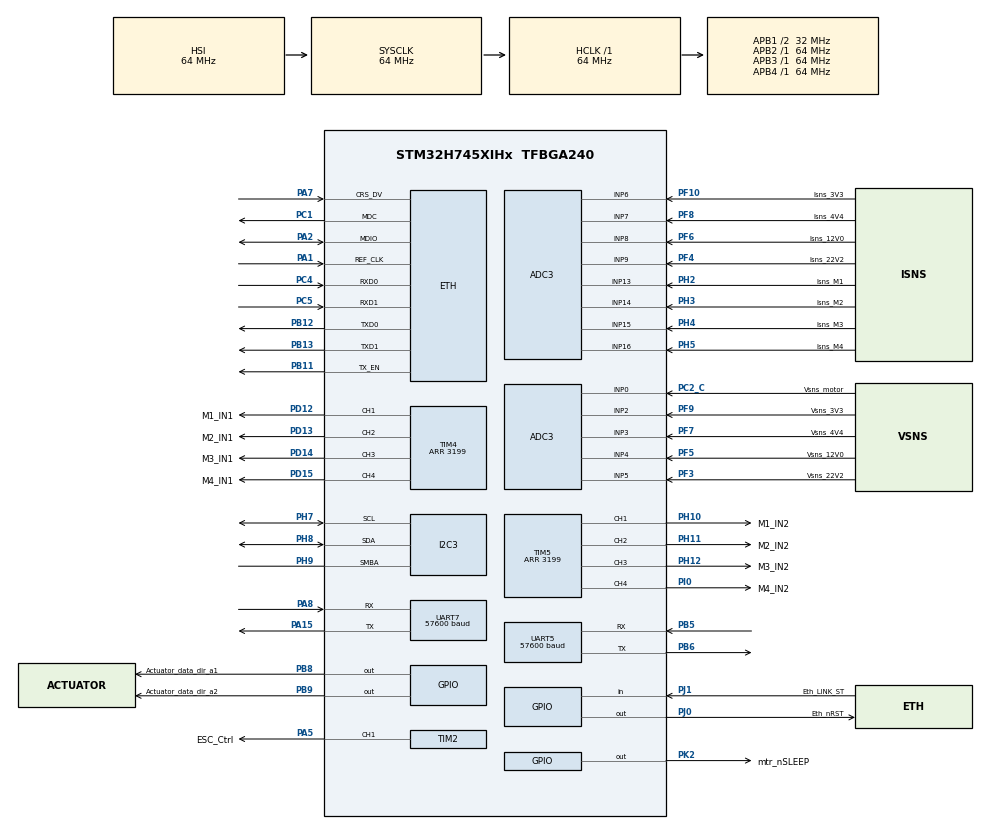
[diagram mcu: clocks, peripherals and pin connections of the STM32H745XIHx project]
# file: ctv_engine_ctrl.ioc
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ADC3.Channel-2\#ChannelRegularConversion=ADC_CHANNEL_0
ADC3.EOCSelection=ADC_EOC_SINGLE_CONV
ADC3.NbrOfConversionFlag=1
ADC3.OffsetNumber-2\#ChannelRegularConversion=ADC_OFFSET_NONE
ADC3.OffsetSignedSaturation-2\#ChannelRegularConversion=DISABLE
ADC3.Overrun=ADC_OVR_DATA_OVERWRITTEN
ADC3.Rank-2\#ChannelRegularConversion=1
ADC3.SamplingTime-2\#ChannelRegularConversion=ADC_SAMPLETIME_64CYCLES_5
CORTEX_M4.AccessPermission-Cortex_Memory_Protection_Unit_Region0_Settings=MPU_REGION_PRIV_RO
CORTEX_M4.BaseAddress-Cortex_Memory_Protection_Unit_Region0_Settings=0x08100000
CORTEX_M4.Enable-Cortex_Memory_Protection_Unit_Region0_Settings=MPU_REGION_ENABLE
CORTEX_M4.MPU_Control=MPU_PRIVILEGED_DEFAULT
CORTEX_M4.Size-Cortex_Memory_Protection_Unit_Region0_Settings=MPU_REGION_SIZE_512KB
CORTEX_M4.TypeExtField-Cortex_Memory_Protection_Unit_Region0_Settings=MPU_TEX_LEVEL1
CORTEX_M7.AccessPermission_S-Cortex_Memory_Protection_Unit_Region1_Settings_S=MPU_REGION_FULL_ACCESS
CORTEX_M7.BaseAddress_S-Cortex_Memory_Protection_Unit_Region1_Settings_S=0x30000000
CORTEX_M7.DisableExec_S-Cortex_Memory_Protection_Unit_Region1_Settings_S=MPU_INSTRUCTION_ACCESS_DISABLE
CORTEX_M7.Enable_S-Cortex_Memory_Protection_Unit_Region1_Settings_S=MPU_REGION_ENABLE
CORTEX_M7.IsCacheable_S-Cortex_Memory_Protection_Unit_Region1_Settings_S=MPU_ACCESS_NOT_CACHEABLE
CORTEX_M7.IsShareable_S-Cortex_Memory_Protection_Unit_Region1_Settings_S=MPU_ACCESS_SHAREABLE
CORTEX_M7.Size_S-Cortex_Memory_Protection_Unit_Region1_Settings_S=MPU_REGION_SIZE_128KB
CORTEX_M7.TypeExtField_S-Cortex_Memory_Protection_Unit_Region1_Settings_S=MPU_TEX_LEVEL1
CORTEX_M7.default_mode_Activation=1
CortexM4.IPs=CORTEX_M4\:I,FATFS_M4\:I,FREERTOS_M4\:I,IWDG2\:I,OPENAMP_M4\:I,PDM2PCM_M4\:I,PWR,RCC,RESMGR_UTILITY,SYS_M4\:I,USB_DEVICE_M4\:I,USB_HOST_M4\:I,VREFBUF,WWDG2\:I,GPIO,DMA,BDMA,MDMA,NVIC2\:I
CortexM7.IPs=CORTEX_M7\:I,FATFS_M7\:I,FREERTOS_M7\:I,IWDG1\:I,OPENAMP_M7\:I,PDM2PCM_M7\:I,PWR\:I,RCC\:I,RESMGR_UTILITY\:I,SYS\:I,USB_DEVICE_M7\:I,USB_HOST_M7\:I,VREFBUF\:I,WWDG1\:I,GPIO\:I,DMA\:I,BDMA\:I,MDMA\:I,NVIC1\:I,ETH\:I,DEBUG\:I,CRC\:I,I2C3\:I,UART7\:I,UART5\:I,ADC3\:I,MEMORYMAP\:I,LWIP\:I,TIM4\:I,TIM5\:I,TIM2\:I,RNG\:I
CortexM7.Pins=PB9,PB8,PK2,PJ0,PJ1
ETH.MediaInterface=HAL_ETH_RMII_MODE
I2C3.SMBusPeripheralMode=SMBUS_PERIPHERAL_MODE_SMBUS_HOST
I2C3.Timeout=0x00008186
I2C3.Timing=0x00707CBB
LWIP.BSP.number=1
LWIP.IP_ADDRESS=192.168.001.138
LWIP.LWIP_DHCP=0
LWIP.LWIP_RAM_HEAP_POINTER=0x30010000
LWIP.LWIP_TCP=0
LWIP.NETMASK_ADDRESS=255.255.255.000
LWIP.Version=v2.2.1_Cube
LWIP0.BSP.STBoard=false
LWIP0.BSP.api=BSP_COMPONENT_DRIVER
LWIP0.BSP.component=USER_PHY
LWIP0.BSP.instance=USER_PHY
LWIP0.BSP.name=Driver_PHY
LWIP0.BSP.semaphore=S_USER_PHY
LWIP0.BSP.solution=USER_PHY
Mcu.Family=STM32H7
Mcu.Name=STM32H745XIHx
Mcu.Package=TFBGA240
NVIC1.PriorityGroup=NVIC_PRIORITYGROUP_4
NVIC2.PriorityGroup=NVIC_PRIORITYGROUP_4
PA1.Mode=RMII
PA1.PinAttribute=CortexM7
PA1.Signal=ETH_REF_CLK
PA13\ (JTMS/SWDIO).GPIO_Label=swdio
PA13\ (JTMS/SWDIO).Mode=Trace_Asynchronous_SW
PA13\ (JTMS/SWDIO).PinAttribute=CortexM7
PA13\ (JTMS/SWDIO).Signal=DEBUG_JTMS-SWDIO
PA14\ (JTCK/SWCLK).GPIO_Label=swclk
PA14\ (JTCK/SWCLK).Mode=Trace_Asynchronous_SW
PA14\ (JTCK/SWCLK).PinAttribute=CortexM7
PA14\ (JTCK/SWCLK).Signal=DEBUG_JTCK-SWCLK
PA15\ (JTDI).Mode=Asynchronous
PA15\ (JTDI).PinAttribute=CortexM7
PA15\ (JTDI).Signal=UART7_TX
PA2.Mode=RMII
PA2.PinAttribute=CortexM7
PA2.Signal=ETH_MDIO
PA5.GPIO_Label=ESC_Ctrl
PA5.PinAttribute=CortexM7
PA5.Signal=S_TIM2_CH1_ETR
PA7.Mode=RMII
PA7.PinAttribute=CortexM7
PA7.Signal=ETH_CRS_DV
PA8.Mode=Asynchronous
PA8.PinAttribute=CortexM7
PA8.Signal=UART7_RX
PB11.Mode=RMII
PB11.PinAttribute=CortexM7
PB11.Signal=ETH_TX_EN
PB12.Mode=RMII
PB12.PinAttribute=CortexM7
PB12.Signal=ETH_TXD0
PB13.Mode=RMII
PB13.PinAttribute=CortexM7
PB13.Signal=ETH_TXD1
PB3\ (JTDO/TRACESWO).GPIO_Label=swo
PB3\ (JTDO/TRACESWO).Mode=Trace_Asynchronous_SW
PB3\ (JTDO/TRACESWO).PinAttribute=CortexM7
PB3\ (JTDO/TRACESWO).Signal=DEBUG_JTDO-SWO
PB5.Mode=Asynchronous
PB5.PinAttribute=CortexM7
PB5.Signal=UART5_RX
PB6.Mode=Asynchronous
PB6.PinAttribute=CortexM7
PB6.Signal=UART5_TX
PB8.GPIO_Label=Actuator_data_dir_a1
PB8.PinAttribute=CortexM7
PB8.Signal=GPIO_Output
PB9.GPIO_Label=Actuator_data_dir_a2
PB9.PinAttribute=CortexM7
PB9.Signal=GPIO_Output
PC1.Mode=RMII
PC1.PinAttribute=CortexM7
PC1.Signal=ETH_MDC
PC2_C.GPIO_Label=Vsns_motor
PC2_C.Mode=IN0-Single-Ended
PC2_C.PinAttribute=CortexM7
PC2_C.Signal=ADC3_INP0
PC4.Mode=RMII
PC4.PinAttribute=CortexM7
PC4.Signal=ETH_RXD0
PC5.Mode=RMII
PC5.PinAttribute=CortexM7
PC5.Signal=ETH_RXD1
PD12.GPIO_Label=M1_IN1
PD12.PinAttribute=CortexM7
PD12.Signal=S_TIM4_CH1
PD13.GPIO_Label=M2_IN1
PD13.PinAttribute=CortexM7
PD13.Signal=S_TIM4_CH2
PD14.GPIO_Label=M3_IN1
PD14.PinAttribute=CortexM7
PD14.Signal=S_TIM4_CH3
PD15.GPIO_Label=M4_IN1
PD15.PinAttribute=CortexM7
PD15.Signal=S_TIM4_CH4
PF10.GPIO_Label=Isns_3V3
PF10.Mode=IN6-Single-Ended
PF10.PinAttribute=CortexM7
PF10.Signal=ADC3_INP6
PF3.GPIO_Label=Vsns_22V2
PF3.Mode=IN5-Single-Ended
PF3.PinAttribute=CortexM7
PF3.Signal=ADC3_INP5
PF4.GPIO_Label=Isns_22V2
PF4.Mode=IN9-Single-Ended
PF4.PinAttribute=CortexM7
PF4.Signal=ADC3_INP9
PF5.GPIO_Label=Vsns_12V0
PF5.Mode=IN4-Single-Ended
PF5.PinAttribute=CortexM7
PF5.Signal=ADC3_INP4
PF6.GPIO_Label=Isns_12V0
PF6.Mode=IN8-Single-Ended
PF6.PinAttribute=CortexM7
PF6.Signal=ADC3_INP8
PF7.GPIO_Label=Vsns_4V4
PF7.Mode=IN3-Single-Ended
PF7.PinAttribute=CortexM7
PF7.Signal=ADC3_INP3
PF8.GPIO_Label=Isns_4V4
PF8.Mode=IN7-Single-Ended
PF8.PinAttribute=CortexM7
PF8.Signal=ADC3_INP7
PF9.GPIO_Label=Vsns_3V3
PF9.Mode=IN2-Single-Ended
PF9.PinAttribute=CortexM7
PF9.Signal=ADC3_INP2
PH10.GPIO_Label=M1_IN2
PH10.PinAttribute=CortexM7
PH10.Signal=S_TIM5_CH1
PH11.GPIO_Label=M2_IN2
PH11.PinAttribute=CortexM7
PH11.Signal=S_TIM5_CH2
PH12.GPIO_Label=M3_IN2
PH12.PinAttribute=CortexM7
PH12.Signal=S_TIM5_CH3
PH2.GPIO_Label=Isns_M1
PH2.Mode=IN13-Single-Ended
PH2.PinAttribute=CortexM7
PH2.Signal=ADC3_INP13
PH3.GPIO_Label=Isns_M2
PH3.Mode=IN14-Single-Ended
PH3.PinAttribute=CortexM7
PH3.Signal=ADC3_INP14
PH4.GPIO_Label=Isns_M3
PH4.Mode=IN15-Single-Ended
PH4.PinAttribute=CortexM7
PH4.Signal=ADC3_INP15
PH5.GPIO_Label=Isns_M4
PH5.Mode=IN16-Single-Ended
PH5.PinAttribute=CortexM7
PH5.Signal=ADC3_INP16
PH7.Mode=SMBus-Alert-mode
PH7.PinAttribute=CortexM7
PH7.Signal=I2C3_SCL
PH8.Mode=SMBus-Alert-mode
PH8.PinAttribute=CortexM7
PH8.Signal=I2C3_SDA
PH9.Mode=SMBus-Alert-mode
PH9.PinAttribute=CortexM7
PH9.Signal=I2C3_SMBA
PI0.GPIO_Label=M4_IN2
PI0.PinAttribute=CortexM7
PI0.Signal=S_TIM5_CH4
PJ0.GPIO_Label=Eth_nRST
PJ0.PinAttribute=CortexM7
PJ0.Signal=GPIO_Output
PJ1.GPIO_Label=Eth_LINK_ST
PJ1.PinAttribute=CortexM7
PJ1.Signal=GPIO_Input
PK2.GPIO_Label=mtr_nSLEEP
PK2.PinAttribute=CortexM7
PK2.Signal=GPIO_Output
ProjectManager.HeapSize=M4-0x200,M7-0x200
ProjectManager.StackSize=M4-0x400,M7-0x2000
ProjectManager.TargetToolchain=STM32CubeIDE
RCC.ADCFreq_Value=80000000
RCC.APB1Freq_Value=32000000
RCC.APB2Freq_Value=64000000
RCC.APB3Freq_Value=64000000
RCC.APB4Freq_Value=64000000
RCC.CortexFreq_Value=64000000
RCC.D2PPRE1=RCC_APB1_DIV2
RCC.DIVM2=4
RCC.DIVN2=10
RCC.HCLKFreq_Value=64000000
RCC.PLL2FRACN=0
RCC.SYSCLKFreq_VALUE=64000000
RCC.USBFreq_Value=129000000
SH.S_TIM2_CH1_ETR.0=TIM2_CH1,PWM Generation1 CH1
SH.S_TIM4_CH1.0=TIM4_CH1,PWM Generation1 CH1
SH.S_TIM4_CH2.0=TIM4_CH2,PWM Generation2 CH2
SH.S_TIM4_CH3.0=TIM4_CH3,PWM Generation3 CH3
SH.S_TIM4_CH4.0=TIM4_CH4,PWM Generation4 CH4
SH.S_TIM5_CH1.0=TIM5_CH1,PWM Generation1 CH1
SH.S_TIM5_CH2.0=TIM5_CH2,PWM Generation2 CH2
SH.S_TIM5_CH3.0=TIM5_CH3,PWM Generation3 CH3
SH.S_TIM5_CH4.0=TIM5_CH4,PWM Generation4 CH4
SYS.userName=SYS_M7
TIM2.AutoReloadPreload=TIM_AUTORELOAD_PRELOAD_ENABLE
TIM2.Channel-PWM\ Generation1\ CH1=TIM_CHANNEL_1
TIM2.Period=19999
TIM2.Prescaler=63
TIM2.Pulse-PWM\ Generation1\ CH1=1000
TIM4.AutoReloadPreload=TIM_AUTORELOAD_PRELOAD_ENABLE
TIM4.Channel-PWM\ Generation1\ CH1=TIM_CHANNEL_1
TIM4.Channel-PWM\ Generation2\ CH2=TIM_CHANNEL_2
TIM4.Channel-PWM\ Generation3\ CH3=TIM_CHANNEL_3
TIM4.Channel-PWM\ Generation4\ CH4=TIM_CHANNEL_4
TIM4.Period=3199
TIM5.AutoReloadPreload=TIM_AUTORELOAD_PRELOAD_ENABLE
TIM5.Channel-PWM\ Generation1\ CH1=TIM_CHANNEL_1
TIM5.Channel-PWM\ Generation2\ CH2=TIM_CHANNEL_2
TIM5.Channel-PWM\ Generation3\ CH3=TIM_CHANNEL_3
TIM5.Channel-PWM\ Generation4\ CH4=TIM_CHANNEL_4
TIM5.Period=3199
UART5.BaudRate=57600
UART7.BaudRate=57600
VP_CRC_VS_CRC.Mode=CRC_Activate
VP_IWDG1_VS_IWDG.Mode=IWDG_Activate
VP_LWIP_VS_Enabled.Mode=Enabled
VP_MEMORYMAP_VS_MEMORYMAP.Mode=CurAppReg
VP_RNG_VS_RNG.Mode=RNG_Activate
VP_SYS_M4_VS_Systick.Mode=SysTick
VP_TIM2_VS_ClockSourceINT.Mode=Internal
VP_TIM4_VS_ClockSourceINT.Mode=Internal
VP_TIM5_VS_ClockSourceINT.Mode=Internal
board=custom

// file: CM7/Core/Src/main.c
/* USER CODE BEGIN Header */
/**
  ******************************************************************************
  * @file           : main.c
  * @brief          : Main program body
  ******************************************************************************
  * @attention
  *
  * Copyright (c) 2026 STMicroelectronics.
  * All rights reserved.
  *
  * This software is licensed under terms that can be found in the LICENSE file
  * in the root directory of this software component.
  * If no LICENSE file comes with this software, it is provided AS-IS.
  *
  ******************************************************************************
  */
/* USER CODE END Header */
#include "main.h"
#include "lwip.h"

/* USER CODE BEGIN Includes */
#include "motors.h"
#include "pa12.h"
#include "sensors.h"
#include "ec_app.h"
#include "pa12_bench.h"
/* USER CODE END Includes */

/* USER CODE BEGIN PD */
#define ADC_TEST_CHANNEL_COUNT 13U

/* DUAL_CORE_BOOT_SYNC_SEQUENCE is intentionally disabled for these tests. */
//#define DUAL_CORE_BOOT_SYNC_SEQUENCE

#if defined(DUAL_CORE_BOOT_SYNC_SEQUENCE)
#ifndef HSEM_ID_0
#define HSEM_ID_0 (0U)
#endif
#endif
/* USER CODE END PD */

ADC_HandleTypeDef hadc3;

CRC_HandleTypeDef hcrc;

SMBUS_HandleTypeDef hsmbus3;

IWDG_HandleTypeDef hiwdg1;

RNG_HandleTypeDef hrng;

TIM_HandleTypeDef htim2;
TIM_HandleTypeDef htim4;
TIM_HandleTypeDef htim5;

UART_HandleTypeDef huart5;
UART_HandleTypeDef huart7;

/* USER CODE BEGIN PV */
/* Read-only test results; inspect with the ordinary debugger if needed.
 * Nothing requires changing variable values while the program runs. */
static PA12_Device actuator1;
static PA12_Device actuator2;

volatile uint16_t adc_test_raw[ADC_TEST_CHANNEL_COUNT] = {0};
volatile HAL_StatusTypeDef adc_test_status[ADC_TEST_CHANNEL_COUNT];
volatile uint32_t adc_test_scans = 0U;

volatile PA12_Result pa_ping_result[2] = {PA12_INVALID_ARGUMENT, PA12_INVALID_ARGUMENT};
volatile PA12_Result pa_position_result[2] = {PA12_INVALID_ARGUMENT, PA12_INVALID_ARGUMENT};
volatile uint16_t pa_position[2] = {0U, 0U};
volatile PA12_Result pa_move_result = PA12_INVALID_ARGUMENT;
volatile HAL_StatusTypeDef motor_test_result = HAL_ERROR;
volatile HAL_StatusTypeDef esc_test_result = HAL_ERROR;
/* USER CODE END PV */

void SystemClock_Config(void);
static void MPU_Config(void);
static void MX_GPIO_Init(void);
static void MX_CRC_Init(void);
static void MX_ADC3_Init(void);
static void MX_I2C3_SMBUS_Init(void);
static void MX_IWDG1_Init(void);
static void MX_UART5_Init(void);
static void MX_UART7_Init(void);
static void MX_TIM2_Init(void);
static void MX_TIM4_Init(void);
static void MX_TIM5_Init(void);
static void MX_RNG_Init(void);
/* USER CODE BEGIN PFP */
__attribute__((unused)) static void Test_DelayMs(uint32_t ms); /* only in the #if 0 bring-up tests */
__attribute__((unused)) static void Test_ReadAllADC(void); /* only with EC_BRINGUP_ADC_POLL */
/* USER CODE END PFP */

/* USER CODE BEGIN 0 */
/**
 * @brief Ethernet MSP Initialization
 * @note  STM32H745 Ethernet MAC connected to ADIN1200 via RMII
 */
void HAL_ETH_MspInit(ETH_HandleTypeDef *heth)
{
    GPIO_InitTypeDef GPIO_InitStruct = {0};

    if (heth->Instance == ETH)
    {
        /* 1. Enable Ethernet peripheral clocks */
        __HAL_RCC_ETH1MAC_CLK_ENABLE();
        __HAL_RCC_ETH1TX_CLK_ENABLE();
        __HAL_RCC_ETH1RX_CLK_ENABLE();

        /* 2. Enable GPIO peripheral clocks */
        __HAL_RCC_GPIOA_CLK_ENABLE();
        __HAL_RCC_GPIOB_CLK_ENABLE();
        __HAL_RCC_GPIOC_CLK_ENABLE();

        /* 3. Configure RMII GPIO alternate functions */
        GPIO_InitStruct.Mode = GPIO_MODE_AF_PP;
        GPIO_InitStruct.Pull = GPIO_NOPULL;
        GPIO_InitStruct.Speed = GPIO_SPEED_FREQ_VERY_HIGH;
        GPIO_InitStruct.Alternate = GPIO_AF11_ETH;

        /* GPIOA:
         * PA1 = ETH_REF_CLK
         * PA2 = ETH_MDIO
         * PA7 = ETH_CRS_DV
         */
        GPIO_InitStruct.Pin =
            GPIO_PIN_1 | GPIO_PIN_2 | GPIO_PIN_7;
        HAL_GPIO_Init(GPIOA, &GPIO_InitStruct);

        /* GPIOB:
         * PB11 = ETH_TX_EN
         * PB12 = ETH_TXD0
         * PB13 = ETH_TXD1
         */
        GPIO_InitStruct.Pin =
            GPIO_PIN_11 | GPIO_PIN_12 | GPIO_PIN_13;
        HAL_GPIO_Init(GPIOB, &GPIO_InitStruct);

        /* GPIOC:
         * PC1 = ETH_MDC
         * PC4 = ETH_RXD0
         * PC5 = ETH_RXD1
         */
        GPIO_InitStruct.Pin =
            GPIO_PIN_1 | GPIO_PIN_4 | GPIO_PIN_5;
        HAL_GPIO_Init(GPIOC, &GPIO_InitStruct);
    }
}

/* Polling-based ADC3 read, one channel at a time, no DMA or scan mode. */
static const uint32_t adc_test_channels[ADC_TEST_CHANNEL_COUNT] = {
    ADC_CHANNEL_0, ADC_CHANNEL_2, ADC_CHANNEL_3, ADC_CHANNEL_4,
    ADC_CHANNEL_5, ADC_CHANNEL_6, ADC_CHANNEL_7, ADC_CHANNEL_8,
    ADC_CHANNEL_9, ADC_CHANNEL_13, ADC_CHANNEL_14, ADC_CHANNEL_15,
    ADC_CHANNEL_16
};

static void Test_ReadAllADC(void)
{
    for (uint32_t i = 0U; i < ADC_TEST_CHANNEL_COUNT; ++i)
    {
        uint16_t raw = 0U;
        HAL_StatusTypeDef status = ADC_ReadChannel(adc_test_channels[i], &raw);
        adc_test_status[i] = status;
        if (status == HAL_OK)
        {
            adc_test_raw[i] = raw;
        }
    }
    ++adc_test_scans;
}

/* Keep the independent watchdog fed during the short blocking bench tests. */
static void Test_DelayMs(uint32_t ms)
{
    while (ms > 0U)
    {
        const uint32_t step = (ms > 10U) ? 10U : ms;
        (void)HAL_IWDG_Refresh(&hiwdg1);
        HAL_Delay(step);
        ms -= step;
    }
}
/* USER CODE END 0 */

int main(void)
{

/* USER CODE BEGIN Boot_Mode_Sequence_0 */
#if defined(DUAL_CORE_BOOT_SYNC_SEQUENCE)
  int32_t timeout;
#endif /* DUAL_CORE_BOOT_SYNC_SEQUENCE */
/* USER CODE END Boot_Mode_Sequence_0 */

  /* MPU Configuration--------------------------------------------------------*/
  MPU_Config();

/* USER CODE BEGIN Boot_Mode_Sequence_1 */
#if defined(DUAL_CORE_BOOT_SYNC_SEQUENCE)
  /* Wait until CPU2 boots and enters in stop mode or timeout*/
  timeout = 0xFFFF;
  while((__HAL_RCC_GET_FLAG(RCC_FLAG_D2CKRDY) != RESET) && (timeout-- > 0));
  if ( timeout < 0 )
  {
  Error_Handler();
  }
#endif /* DUAL_CORE_BOOT_SYNC_SEQUENCE */
/* USER CODE END Boot_Mode_Sequence_1 */
  /* MCU Configuration--------------------------------------------------------*/

  /* Reset of all peripherals, Initializes the Flash interface and the Systick. */
  HAL_Init();

  /* Configure the system clock */
  SystemClock_Config();
/* USER CODE BEGIN Boot_Mode_Sequence_2 */
#if defined(DUAL_CORE_BOOT_SYNC_SEQUENCE)
/* When system initialization is finished, Cortex-M7 will release Cortex-M4 by means of
HSEM notification */
/*HW semaphore Clock enable*/
__HAL_RCC_HSEM_CLK_ENABLE();
/*Take HSEM */
HAL_HSEM_FastTake(HSEM_ID_0);
/*Release HSEM in order to notify the CPU2(CM4)*/
HAL_HSEM_Release(HSEM_ID_0,0);
/* wait until CPU2 wakes up from stop mode */
timeout = 0xFFFF;
while((__HAL_RCC_GET_FLAG(RCC_FLAG_D2CKRDY) == RESET) && (timeout-- > 0));
if ( timeout < 0 )
{
Error_Handler();
}
#endif /* DUAL_CORE_BOOT_SYNC_SEQUENCE */
/* USER CODE END Boot_Mode_Sequence_2 */

  /* Initialize all configured peripherals */
  MX_GPIO_Init();
  MX_CRC_Init();
  MX_ADC3_Init();
  MX_I2C3_SMBUS_Init();
  MX_IWDG1_Init();
  MX_UART5_Init();
  MX_UART7_Init();
  MX_TIM2_Init();
  MX_LWIP_Init();
  MX_TIM4_Init();
  MX_TIM5_Init();
  MX_RNG_Init();
  /* USER CODE BEGIN 2 */
    /* ================================================================
    PERIPHERAL BRING-UP: independent source-code blocks.
    Change the #if 0 above a test to #if 1 to run it, then rebuild.
    ADC polling (TEST E) is OFF by default; define EC_BRINGUP_ADC_POLL to run it.
    All physical motion tests are OFF by default.
    ================================================================ */

    (void)HAL_IWDG_Refresh(&hiwdg1);

    /* Initialize motor PWM at 0%, but keep all four DRV8837s asleep. */
    if (Motors_Init() != HAL_OK)
    {
        Error_Handler();
    }
    Motors_Disarm();

    /* The two actuators are on separate UART buses, both with device ID 0. */
    PA12_Init(&actuator1, &huart7,
            Actuator_data_dir_a1_GPIO_Port, Actuator_data_dir_a1_Pin, 0U);
    PA12_Init(&actuator2, &huart5,
            Actuator_data_dir_a2_GPIO_Port, Actuator_data_dir_a2_Pin, 0U);
#ifdef EC_PA12_BENCH
    PA12_Bench_Init(&actuator1, &actuator2); /* bench-only build: see pa12_bench.h */
#endif

    if (Sensors_ADC_Init() != HAL_OK)
    {
        Error_Handler();
    }

    /* IMPORTANT: Do not start ESC PWM automatically. */
    (void)HAL_TIM_PWM_Stop(&htim2, TIM_CHANNEL_1);
    __HAL_TIM_SET_COMPARE(&htim2, TIM_CHANNEL_1, 0U);

    /* ----------------------------------------------------------------
    TEST A: Read BOTH PA-12 actuators (read-only; no movement)
    ---------------------------------------------------------------- */
    #if 0
    (void)HAL_IWDG_Refresh(&hiwdg1);
    pa_ping_result[0] = PA12_Ping(&actuator1);
    if (pa_ping_result[0] == PA12_OK)
    {
        uint16_t read_position = 0U;
        pa_position_result[0] = PA12_GetPosition(&actuator1, &read_position);
        if (pa_position_result[0] == PA12_OK) pa_position[0] = read_position;
    }

    (void)HAL_IWDG_Refresh(&hiwdg1);
    pa_ping_result[1] = PA12_Ping(&actuator2);
    if (pa_ping_result[1] == PA12_OK)
    {
        uint16_t read_position = 0U;
        pa_position_result[1] = PA12_GetPosition(&actuator2, &read_position);
        if (pa_position_result[1] == PA12_OK) pa_position[1] = read_position;
    }
    #endif

    /* ----------------------------------------------------------------
    TEST B: Motor 1 forward, 5% PWM for 100 ms, then disarm.
    Test one channel at a time. Replace (1, 50) with (2, -50), etc.
    Verify supply/current ratings and PWM signals before power testing.
    ---------------------------------------------------------------- */
    #if 0
    motor_test_result = Motors_Arm();
    if (motor_test_result == HAL_OK)
    {
        motor_test_result = Motors_SetDuty(1U, 50);  /* 1..4, -1000..+1000 */
        if (motor_test_result == HAL_OK)
        {
            Test_DelayMs(100U);
        }
        (void)Motors_Coast(1U);
    }
    Motors_Disarm();
    #endif

    /* ----------------------------------------------------------------
    TEST C: PA-12 actuator 1 POSITION MOVE (disabled by default).
    Set confirmed safe limits, target and speed BEFORE enabling.
    The initial all-zero limits intentionally block movement.
    ---------------------------------------------------------------- */
    #if 0
    {
        const uint16_t safe_min = 0U;   /* EDIT: confirmed installed limit */
        const uint16_t safe_max = 0U;   /* EDIT: confirmed installed limit */
        const uint16_t target   = 0U;   /* EDIT: target inside those limits */
        const uint16_t speed    = 0U;   /* EDIT: verified raw speed > 0 */
        uint16_t current = 0U;
        PA12_Device *dev = &actuator1; /* Use &actuator2 for second actuator */

        /* Keep the requested step small on first powered tests. */
        if ((safe_min < safe_max) && (speed > 0U) &&
            (target >= safe_min) && (target <= safe_max))
        {
            (void)HAL_IWDG_Refresh(&hiwdg1);
            pa_move_result = PA12_GetPosition(dev, &current);
            if (pa_move_result == PA12_OK &&
            current >= safe_min && current <= safe_max &&
            ((target > current ? target - current : current - target) <= 32U))
            {
                (void)HAL_IWDG_Refresh(&hiwdg1);
                pa_move_result = PA12_SetPositionAndSpeed(dev, target, speed);
            }
        }
    }
    #endif

    /* ----------------------------------------------------------------
    TEST D: ESC 50 Hz PWM waveform ONLY, disconnected from powered ESC.
    Confirm the ESC protocol before using it for real throttle control.
    At the current 64 MHz timer clock, TIM2 is 1 us/count, 20 ms period.
    ---------------------------------------------------------------- */
    #if 0
    __HAL_TIM_SET_COMPARE(&htim2, TIM_CHANNEL_1, 1500U); /* Scope example, NOT safe throttle */
    esc_test_result = HAL_TIM_PWM_Start(&htim2, TIM_CHANNEL_1);
    if (esc_test_result == HAL_OK)
    {
        Test_DelayMs(200U);  /* At least several 50 Hz periods */
    }
    (void)HAL_TIM_PWM_Stop(&htim2, TIM_CHANNEL_1);
    __HAL_TIM_SET_COMPARE(&htim2, TIM_CHANNEL_1, 0U);
    #endif

    /* Register the UDP application after lwIP and peripheral initialization.
     * Physical output authority stays disabled until the actuator profiles in
     * ec_bench_profile.h are approved, and the FC arms the EC.
     */
    uint32_t boot_id = 0;

    /* Generate a random, nonzero boot ID */
    for (uint32_t attempt = 0; attempt < 4U; attempt++)
    {
        (void)HAL_IWDG_Refresh(&hiwdg1);

        if (HAL_RNG_GenerateRandomNumber(&hrng, &boot_id) != HAL_OK)
        {
            Error_Handler();
        }

        if (boot_id != 0U)
        {
            break;
        }
    }

    /* Never initialize the protocol with an invalid boot ID */
    if (boot_id == 0U)
    {
        Error_Handler();
    }

    if (!EC_App_Init(boot_id))
    {
        Error_Handler();
    }
  /* USER CODE END 2 */

  /* Infinite loop */
  while (1)
  {

    /* USER CODE BEGIN 3 */
        /* The FC-EC link. Nothing in this loop may block for long: the FC
         * resends its demand every 5 ms and the EC safes itself if none
         * arrives within 30 ms. */
        MX_LWIP_Process();
        EC_App_Process((uint64_t)HAL_GetTick() * 1000ULL);
#ifdef EC_PA12_BENCH
        PA12_Bench_Process();
#endif

        /* ----------------------------------------------------------------
        TEST E: Sample ALL 13 ADC channels once every 250 ms.
        OFF by default (define EC_BRINGUP_ADC_POLL to run it). With a broken
        ADC each read can take its full 2 ms timeout, 26 ms for the scan,
        which would eat the 30 ms demand timeout above.
        Raw counts are NOT converted to volts or amperes.
        ---------------------------------------------------------------- */
        #ifdef EC_BRINGUP_ADC_POLL
        static uint32_t last_adc_ms = 0U;
        const uint32_t now_ms = HAL_GetTick();
        if ((uint32_t)(now_ms - last_adc_ms) >= 250U)
        {
            last_adc_ms = now_ms;
            Test_ReadAllADC();
        }
        #endif

        /* The MCU watchdog resets the board in about 0.5 s without this. */
        (void)HAL_IWDG_Refresh(&hiwdg1);
    }  /* Close while(1); CubeMX closes main() after USER CODE END 3. */
  /* USER CODE END 3 */
}

void SystemClock_Config(void)
{
  RCC_OscInitTypeDef RCC_OscInitStruct = {0};
  RCC_ClkInitTypeDef RCC_ClkInitStruct = {0};

  /** Supply configuration update enable
  */
  HAL_PWREx_ConfigSupply(PWR_DIRECT_SMPS_SUPPLY);

  /** Configure the main internal regulator output voltage
  */
  __HAL_PWR_VOLTAGESCALING_CONFIG(PWR_REGULATOR_VOLTAGE_SCALE3);

  while(!__HAL_PWR_GET_FLAG(PWR_FLAG_VOSRDY)) {}

  /** Macro to configure the PLL clock source
  */
  __HAL_RCC_PLL_PLLSOURCE_CONFIG(RCC_PLLSOURCE_HSI);

  /** Initializes the RCC Oscillators according to the specified parameters
  * in the RCC_OscInitTypeDef structure.
  */
  RCC_OscInitStruct.OscillatorType = RCC_OSCILLATORTYPE_HSI48|RCC_OSCILLATORTYPE_HSI
                              |RCC_OSCILLATORTYPE_LSI;
  RCC_OscInitStruct.HSIState = RCC_HSI_DIV1;
  RCC_OscInitStruct.HSICalibrationValue = RCC_HSICALIBRATION_DEFAULT;
  RCC_OscInitStruct.LSIState = RCC_LSI_ON;
  RCC_OscInitStruct.HSI48State = RCC_HSI48_ON;
  RCC_OscInitStruct.PLL.PLLState = RCC_PLL_NONE;
  if (HAL_RCC_OscConfig(&RCC_OscInitStruct) != HAL_OK)
  {
    Error_Handler();
  }

  /** Initializes the CPU, AHB and APB buses clocks
  */
  RCC_ClkInitStruct.ClockType = RCC_CLOCKTYPE_HCLK|RCC_CLOCKTYPE_SYSCLK
                              |RCC_CLOCKTYPE_PCLK1|RCC_CLOCKTYPE_PCLK2
                              |RCC_CLOCKTYPE_D3PCLK1|RCC_CLOCKTYPE_D1PCLK1;
  RCC_ClkInitStruct.SYSCLKSource = RCC_SYSCLKSOURCE_HSI;
  RCC_ClkInitStruct.SYSCLKDivider = RCC_SYSCLK_DIV1;
  RCC_ClkInitStruct.AHBCLKDivider = RCC_HCLK_DIV1;
  RCC_ClkInitStruct.APB3CLKDivider = RCC_APB3_DIV1;
  RCC_ClkInitStruct.APB1CLKDivider = RCC_APB1_DIV2;
  RCC_ClkInitStruct.APB2CLKDivider = RCC_APB2_DIV1;
  RCC_ClkInitStruct.APB4CLKDivider = RCC_APB4_DIV1;

  if (HAL_RCC_ClockConfig(&RCC_ClkInitStruct, FLASH_LATENCY_1) != HAL_OK)
  {
    Error_Handler();
  }
}

static void MX_ADC3_Init(void)
{

  ADC_ChannelConfTypeDef sConfig = {0};

  /** Common config
  */
  hadc3.Instance = ADC3;
  hadc3.Init.ClockPrescaler = ADC_CLOCK_ASYNC_DIV2;
  hadc3.Init.ScanConvMode = ADC_SCAN_DISABLE;
  hadc3.Init.EOCSelection = ADC_EOC_SINGLE_CONV;
  hadc3.Init.LowPowerAutoWait = DISABLE;
  hadc3.Init.ContinuousConvMode = DISABLE;
  hadc3.Init.NbrOfConversion = 1;
  hadc3.Init.DiscontinuousConvMode = DISABLE;
  hadc3.Init.ExternalTrigConv = ADC_SOFTWARE_START;
  hadc3.Init.ExternalTrigConvEdge = ADC_EXTERNALTRIGCONVEDGE_NONE;
  hadc3.Init.ConversionDataManagement = ADC_CONVERSIONDATA_DR;
  hadc3.Init.Overrun = ADC_OVR_DATA_OVERWRITTEN;
  hadc3.Init.LeftBitShift = ADC_LEFTBITSHIFT_NONE;
  hadc3.Init.OversamplingMode = DISABLE;
  hadc3.Init.Oversampling.Ratio = 1;
  if (HAL_ADC_Init(&hadc3) != HAL_OK)
  {
    Error_Handler();
  }
  hadc3.Init.Resolution = ADC_RESOLUTION_16B;
  if (HAL_ADC_Init(&hadc3) != HAL_OK)
  {
    Error_Handler();
  }

  /** Configure Regular Channel
  */
  sConfig.Channel = ADC_CHANNEL_0;
  sConfig.Rank = ADC_REGULAR_RANK_1;
  sConfig.SamplingTime = ADC_SAMPLETIME_64CYCLES_5;
  sConfig.SingleDiff = ADC_SINGLE_ENDED;
  sConfig.OffsetNumber = ADC_OFFSET_NONE;
  sConfig.Offset = 0;
  sConfig.OffsetSignedSaturation = DISABLE;
  if (HAL_ADC_ConfigChannel(&hadc3, &sConfig) != HAL_OK)
  {
    Error_Handler();
  }

}

static void MX_CRC_Init(void)
{

  hcrc.Instance = CRC;
  hcrc.Init.DefaultPolynomialUse = DEFAULT_POLYNOMIAL_ENABLE;
  hcrc.Init.DefaultInitValueUse = DEFAULT_INIT_VALUE_ENABLE;
  hcrc.Init.InputDataInversionMode = CRC_INPUTDATA_INVERSION_NONE;
  hcrc.Init.OutputDataInversionMode = CRC_OUTPUTDATA_INVERSION_DISABLE;
  hcrc.InputDataFormat = CRC_INPUTDATA_FORMAT_BYTES;
  if (HAL_CRC_Init(&hcrc) != HAL_OK)
  {
    Error_Handler();
  }

}

static void MX_I2C3_SMBUS_Init(void)
{

  hsmbus3.Instance = I2C3;
  hsmbus3.Init.Timing = 0x00707CBB;
  hsmbus3.Init.AnalogFilter = SMBUS_ANALOGFILTER_ENABLE;
  hsmbus3.Init.OwnAddress1 = 2;
  hsmbus3.Init.AddressingMode = SMBUS_ADDRESSINGMODE_7BIT;
  hsmbus3.Init.DualAddressMode = SMBUS_DUALADDRESS_DISABLE;
  hsmbus3.Init.OwnAddress2 = 0;
  hsmbus3.Init.OwnAddress2Masks = SMBUS_OA2_NOMASK;
  hsmbus3.Init.GeneralCallMode = SMBUS_GENERALCALL_DISABLE;
  hsmbus3.Init.NoStretchMode = SMBUS_NOSTRETCH_DISABLE;
  hsmbus3.Init.PacketErrorCheckMode = SMBUS_PEC_DISABLE;
  hsmbus3.Init.PeripheralMode = SMBUS_PERIPHERAL_MODE_SMBUS_HOST;
  hsmbus3.Init.SMBusTimeout = 0x00008186;
  if (HAL_SMBUS_Init(&hsmbus3) != HAL_OK)
  {
    Error_Handler();
  }

  /** configuration Alert Mode
  */
  if (HAL_SMBUS_EnableAlert_IT(&hsmbus3) != HAL_OK)
  {
    Error_Handler();
  }

  /** Configure Digital filter
  */
  if (HAL_SMBUS_ConfigDigitalFilter(&hsmbus3, 0) != HAL_OK)
  {
    Error_Handler();
  }

}

static void MX_IWDG1_Init(void)
{

  hiwdg1.Instance = IWDG1;
  hiwdg1.Init.Prescaler = IWDG_PRESCALER_4;
  hiwdg1.Init.Window = 4095;
  hiwdg1.Init.Reload = 4095;
  if (HAL_IWDG_Init(&hiwdg1) != HAL_OK)
  {
    Error_Handler();
  }

}

static void MX_RNG_Init(void)
{

  hrng.Instance = RNG;
  hrng.Init.ClockErrorDetection = RNG_CED_ENABLE;
  if (HAL_RNG_Init(&hrng) != HAL_OK)
  {
    Error_Handler();
  }

}

static void MX_TIM2_Init(void)
{

  TIM_ClockConfigTypeDef sClockSourceConfig = {0};
  TIM_MasterConfigTypeDef sMasterConfig = {0};
  TIM_OC_InitTypeDef sConfigOC = {0};

  htim2.Instance = TIM2;
  htim2.Init.Prescaler = 63;
  htim2.Init.CounterMode = TIM_COUNTERMODE_UP;
  htim2.Init.Period = 19999;
  htim2.Init.ClockDivision = TIM_CLOCKDIVISION_DIV1;
  htim2.Init.AutoReloadPreload = TIM_AUTORELOAD_PRELOAD_ENABLE;
  if (HAL_TIM_Base_Init(&htim2) != HAL_OK)
  {
    Error_Handler();
  }
  sClockSourceConfig.ClockSource = TIM_CLOCKSOURCE_INTERNAL;
  if (HAL_TIM_ConfigClockSource(&htim2, &sClockSourceConfig) != HAL_OK)
  {
    Error_Handler();
  }
  if (HAL_TIM_PWM_Init(&htim2) != HAL_OK)
  {
    Error_Handler();
  }
  sMasterConfig.MasterOutputTrigger = TIM_TRGO_RESET;
  sMasterConfig.MasterSlaveMode = TIM_MASTERSLAVEMODE_DISABLE;
  if (HAL_TIMEx_MasterConfigSynchronization(&htim2, &sMasterConfig) != HAL_OK)
  {
    Error_Handler();
  }
  sConfigOC.OCMode = TIM_OCMODE_PWM1;
  sConfigOC.Pulse = 1000;
  sConfigOC.OCPolarity = TIM_OCPOLARITY_HIGH;
  sConfigOC.OCFastMode = TIM_OCFAST_DISABLE;
  if (HAL_TIM_PWM_ConfigChannel(&htim2, &sConfigOC, TIM_CHANNEL_1) != HAL_OK)
  {
    Error_Handler();
  }
  HAL_TIM_MspPostInit(&htim2);

}

static void MX_TIM4_Init(void)
{

  TIM_ClockConfigTypeDef sClockSourceConfig = {0};
  TIM_MasterConfigTypeDef sMasterConfig = {0};
  TIM_OC_InitTypeDef sConfigOC = {0};

  htim4.Instance = TIM4;
  htim4.Init.Prescaler = 0;
  htim4.Init.CounterMode = TIM_COUNTERMODE_UP;
  htim4.Init.Period = 3199;
  htim4.Init.ClockDivision = TIM_CLOCKDIVISION_DIV1;
  htim4.Init.AutoReloadPreload = TIM_AUTORELOAD_PRELOAD_ENABLE;
  if (HAL_TIM_Base_Init(&htim4) != HAL_OK)
  {
    Error_Handler();
  }
  sClockSourceConfig.ClockSource = TIM_CLOCKSOURCE_INTERNAL;
  if (HAL_TIM_ConfigClockSource(&htim4, &sClockSourceConfig) != HAL_OK)
  {
    Error_Handler();
  }
  if (HAL_TIM_PWM_Init(&htim4) != HAL_OK)
  {
    Error_Handler();
  }
  sMasterConfig.MasterOutputTrigger = TIM_TRGO_RESET;
  sMasterConfig.MasterSlaveMode = TIM_MASTERSLAVEMODE_DISABLE;
  if (HAL_TIMEx_MasterConfigSynchronization(&htim4, &sMasterConfig) != HAL_OK)
  {
    Error_Handler();
  }
  sConfigOC.OCMode = TIM_OCMODE_PWM1;
  sConfigOC.Pulse = 0;
  sConfigOC.OCPolarity = TIM_OCPOLARITY_HIGH;
  sConfigOC.OCFastMode = TIM_OCFAST_DISABLE;
  if (HAL_TIM_PWM_ConfigChannel(&htim4, &sConfigOC, TIM_CHANNEL_1) != HAL_OK)
  {
    Error_Handler();
  }
  if (HAL_TIM_PWM_ConfigChannel(&htim4, &sConfigOC, TIM_CHANNEL_2) != HAL_OK)
  {
    Error_Handler();
  }
  if (HAL_TIM_PWM_ConfigChannel(&htim4, &sConfigOC, TIM_CHANNEL_3) != HAL_OK)
  {
    Error_Handler();
  }
  if (HAL_TIM_PWM_ConfigChannel(&htim4, &sConfigOC, TIM_CHANNEL_4) != HAL_OK)
  {
    Error_Handler();
  }
  HAL_TIM_MspPostInit(&htim4);

}

static void MX_TIM5_Init(void)
{

  TIM_ClockConfigTypeDef sClockSourceConfig = {0};
  TIM_MasterConfigTypeDef sMasterConfig = {0};
  TIM_OC_InitTypeDef sConfigOC = {0};

  htim5.Instance = TIM5;
  htim5.Init.Prescaler = 0;
  htim5.Init.CounterMode = TIM_COUNTERMODE_UP;
  htim5.Init.Period = 3199;
  htim5.Init.ClockDivision = TIM_CLOCKDIVISION_DIV1;
  htim5.Init.AutoReloadPreload = TIM_AUTORELOAD_PRELOAD_ENABLE;
  if (HAL_TIM_Base_Init(&htim5) != HAL_OK)
  {
    Error_Handler();
  }
  sClockSourceConfig.ClockSource = TIM_CLOCKSOURCE_INTERNAL;
  if (HAL_TIM_ConfigClockSource(&htim5, &sClockSourceConfig) != HAL_OK)
  {
    Error_Handler();
  }
  if (HAL_TIM_PWM_Init(&htim5) != HAL_OK)
  {
    Error_Handler();
  }
  sMasterConfig.MasterOutputTrigger = TIM_TRGO_RESET;
  sMasterConfig.MasterSlaveMode = TIM_MASTERSLAVEMODE_DISABLE;
  if (HAL_TIMEx_MasterConfigSynchronization(&htim5, &sMasterConfig) != HAL_OK)
  {
    Error_Handler();
  }
  sConfigOC.OCMode = TIM_OCMODE_PWM1;
  sConfigOC.Pulse = 0;
  sConfigOC.OCPolarity = TIM_OCPOLARITY_HIGH;
  sConfigOC.OCFastMode = TIM_OCFAST_DISABLE;
  if (HAL_TIM_PWM_ConfigChannel(&htim5, &sConfigOC, TIM_CHANNEL_1) != HAL_OK)
  {
    Error_Handler();
  }
  if (HAL_TIM_PWM_ConfigChannel(&htim5, &sConfigOC, TIM_CHANNEL_2) != HAL_OK)
  {
    Error_Handler();
  }
  if (HAL_TIM_PWM_ConfigChannel(&htim5, &sConfigOC, TIM_CHANNEL_3) != HAL_OK)
  {
    Error_Handler();
  }
  if (HAL_TIM_PWM_ConfigChannel(&htim5, &sConfigOC, TIM_CHANNEL_4) != HAL_OK)
  {
    Error_Handler();
  }
  HAL_TIM_MspPostInit(&htim5);

}

static void MX_UART5_Init(void)
{

  huart5.Instance = UART5;
  huart5.Init.BaudRate = 57600;
  huart5.Init.WordLength = UART_WORDLENGTH_8B;
  huart5.Init.StopBits = UART_STOPBITS_1;
  huart5.Init.Parity = UART_PARITY_NONE;
  huart5.Init.Mode = UART_MODE_TX_RX;
  huart5.Init.HwFlowCtl = UART_HWCONTROL_NONE;
  huart5.Init.OverSampling = UART_OVERSAMPLING_16;
  huart5.Init.OneBitSampling = UART_ONE_BIT_SAMPLE_DISABLE;
  huart5.Init.ClockPrescaler = UART_PRESCALER_DIV1;
  huart5.AdvancedInit.AdvFeatureInit = UART_ADVFEATURE_NO_INIT;
  if (HAL_UART_Init(&huart5) != HAL_OK)
  {
    Error_Handler();
  }
  if (HAL_UARTEx_SetTxFifoThreshold(&huart5, UART_TXFIFO_THRESHOLD_1_8) != HAL_OK)
  {
    Error_Handler();
  }
  if (HAL_UARTEx_SetRxFifoThreshold(&huart5, UART_RXFIFO_THRESHOLD_1_8) != HAL_OK)
  {
    Error_Handler();
  }
  if (HAL_UARTEx_DisableFifoMode(&huart5) != HAL_OK)
  {
    Error_Handler();
  }

}

static void MX_UART7_Init(void)
{

  huart7.Instance = UART7;
  huart7.Init.BaudRate = 57600;
  huart7.Init.WordLength = UART_WORDLENGTH_8B;
  huart7.Init.StopBits = UART_STOPBITS_1;
  huart7.Init.Parity = UART_PARITY_NONE;
  huart7.Init.Mode = UART_MODE_TX_RX;
  huart7.Init.HwFlowCtl = UART_HWCONTROL_NONE;
  huart7.Init.OverSampling = UART_OVERSAMPLING_16;
  huart7.Init.OneBitSampling = UART_ONE_BIT_SAMPLE_DISABLE;
  huart7.Init.ClockPrescaler = UART_PRESCALER_DIV1;
  huart7.AdvancedInit.AdvFeatureInit = UART_ADVFEATURE_NO_INIT;
  if (HAL_UART_Init(&huart7) != HAL_OK)
  {
    Error_Handler();
  }
  if (HAL_UARTEx_SetTxFifoThreshold(&huart7, UART_TXFIFO_THRESHOLD_1_8) != HAL_OK)
  {
    Error_Handler();
  }
  if (HAL_UARTEx_SetRxFifoThreshold(&huart7, UART_RXFIFO_THRESHOLD_1_8) != HAL_OK)
  {
    Error_Handler();
  }
  if (HAL_UARTEx_DisableFifoMode(&huart7) != HAL_OK)
  {
    Error_Handler();
  }

}

static void MX_GPIO_Init(void)
{
  GPIO_InitTypeDef GPIO_InitStruct = {0};

  /* GPIO Ports Clock Enable */
  __HAL_RCC_GPIOI_CLK_ENABLE();
  __HAL_RCC_GPIOB_CLK_ENABLE();
  __HAL_RCC_GPIOK_CLK_ENABLE();
  __HAL_RCC_GPIOG_CLK_ENABLE();
  __HAL_RCC_GPIOD_CLK_ENABLE();
  __HAL_RCC_GPIOC_CLK_ENABLE();
  __HAL_RCC_GPIOA_CLK_ENABLE();
  __HAL_RCC_GPIOE_CLK_ENABLE();
  __HAL_RCC_GPIOJ_CLK_ENABLE();
  __HAL_RCC_GPIOH_CLK_ENABLE();
  __HAL_RCC_GPIOF_CLK_ENABLE();

  /*Configure GPIO pin Output Level */
  HAL_GPIO_WritePin(GPIOB, Actuator_data_dir_a2_Pin|Actuator_data_dir_a1_Pin, GPIO_PIN_RESET);

  /*Configure GPIO pin Output Level */
  HAL_GPIO_WritePin(mtr_nSLEEP_GPIO_Port, mtr_nSLEEP_Pin, GPIO_PIN_RESET);

  /*Configure GPIO pin Output Level */
  HAL_GPIO_WritePin(Eth_nRST_GPIO_Port, Eth_nRST_Pin, GPIO_PIN_RESET);

  /*Configure GPIO pins : PI6 PI5 PI4 PI1
                           PI7 PI2 PI3 PI9
                           PI8 PI10 PI11 PI12
                           PI13 PI14 PI15 */
  GPIO_InitStruct.Pin = GPIO_PIN_6|GPIO_PIN_5|GPIO_PIN_4|GPIO_PIN_1
                          |GPIO_PIN_7|GPIO_PIN_2|GPIO_PIN_3|GPIO_PIN_9
                          |GPIO_PIN_8|GPIO_PIN_10|GPIO_PIN_11|GPIO_PIN_12
                          |GPIO_PIN_13|GPIO_PIN_14|GPIO_PIN_15;
  GPIO_InitStruct.Mode = GPIO_MODE_ANALOG;
  GPIO_InitStruct.Pull = GPIO_NOPULL;
  HAL_GPIO_Init(GPIOI, &GPIO_InitStruct);

  /*Configure GPIO pins : PK5 PK4 PK6 PK3
                           PK7 PK0 PK1 */
  GPIO_InitStruct.Pin = GPIO_PIN_5|GPIO_PIN_4|GPIO_PIN_6|GPIO_PIN_3
                          |GPIO_PIN_7|GPIO_PIN_0|GPIO_PIN_1;
  GPIO_InitStruct.Mode = GPIO_MODE_ANALOG;
  GPIO_InitStruct.Pull = GPIO_NOPULL;
  HAL_GPIO_Init(GPIOK, &GPIO_InitStruct);

  /*Configure GPIO pins : PG10 PG9 PG11 PG12
                           PG15 PG14 PG13 PG8
                           PG7 PG5 PG6 PG4
                           PG3 PG2 PG0 PG1 */
  GPIO_InitStruct.Pin = GPIO_PIN_10|GPIO_PIN_9|GPIO_PIN_11|GPIO_PIN_12
                          |GPIO_PIN_15|GPIO_PIN_14|GPIO_PIN_13|GPIO_PIN_8
                          |GPIO_PIN_7|GPIO_PIN_5|GPIO_PIN_6|GPIO_PIN_4
                          |GPIO_PIN_3|GPIO_PIN_2|GPIO_PIN_0|GPIO_PIN_1;
  GPIO_InitStruct.Mode = GPIO_MODE_ANALOG;
  GPIO_InitStruct.Pull = GPIO_NOPULL;
  HAL_GPIO_Init(GPIOG, &GPIO_InitStruct);

  /*Configure GPIO pins : PD5 PD4 PD6 PD3
                           PD7 PD2 PD0 PD1
                           PD11 PD10 PD9 PD8 */
  GPIO_InitStruct.Pin = GPIO_PIN_5|GPIO_PIN_4|GPIO_PIN_6|GPIO_PIN_3
                          |GPIO_PIN_7|GPIO_PIN_2|GPIO_PIN_0|GPIO_PIN_1
                          |GPIO_PIN_11|GPIO_PIN_10|GPIO_PIN_9|GPIO_PIN_8;
  GPIO_InitStruct.Mode = GPIO_MODE_ANALOG;
  GPIO_InitStruct.Pull = GPIO_NOPULL;
  HAL_GPIO_Init(GPIOD, &GPIO_InitStruct);

  /*Configure GPIO pins : PC10 PC11 PC15 PC14
                           PC12 PC13 PC8 PC9
                           PC7 PC6 PC0 PC2
                           PC3 */
  GPIO_InitStruct.Pin = GPIO_PIN_10|GPIO_PIN_11|GPIO_PIN_15|GPIO_PIN_14
                          |GPIO_PIN_12|GPIO_PIN_13|GPIO_PIN_8|GPIO_PIN_9
                          |GPIO_PIN_7|GPIO_PIN_6|GPIO_PIN_0|GPIO_PIN_2
                          |GPIO_PIN_3;
  GPIO_InitStruct.Mode = GPIO_MODE_ANALOG;
  GPIO_InitStruct.Pull = GPIO_NOPULL;
  HAL_GPIO_Init(GPIOC, &GPIO_InitStruct);

  /*Configure GPIO pins : PE1 PE2 PE0 PE5
                           PE4 PE3 PE6 PE10
                           PE9 PE11 PE12 PE15
                           PE8 PE13 PE7 PE14 */
  GPIO_InitStruct.Pin = GPIO_PIN_1|GPIO_PIN_2|GPIO_PIN_0|GPIO_PIN_5
                          |GPIO_PIN_4|GPIO_PIN_3|GPIO_PIN_6|GPIO_PIN_10
                          |GPIO_PIN_9|GPIO_PIN_11|GPIO_PIN_12|GPIO_PIN_15
                          |GPIO_PIN_8|GPIO_PIN_13|GPIO_PIN_7|GPIO_PIN_14;
  GPIO_InitStruct.Mode = GPIO_MODE_ANALOG;
  GPIO_InitStruct.Pull = GPIO_NOPULL;
  HAL_GPIO_Init(GPIOE, &GPIO_InitStruct);

  /*Configure GPIO pins : PB4 PB7 PB10 PB2
                           PB1 PB15 PB0 PB14 */
  GPIO_InitStruct.Pin = GPIO_PIN_4|GPIO_PIN_7|GPIO_PIN_10|GPIO_PIN_2
                          |GPIO_PIN_1|GPIO_PIN_15|GPIO_PIN_0|GPIO_PIN_14;
  GPIO_InitStruct.Mode = GPIO_MODE_ANALOG;
  GPIO_InitStruct.Pull = GPIO_NOPULL;
  HAL_GPIO_Init(GPIOB, &GPIO_InitStruct);

  /*Configure GPIO pins : PJ15 PJ14 PJ12 PJ13
                           PJ11 PJ10 PJ9 PJ8
                           PJ7 PJ6 PJ5 PJ2
                           PJ3 PJ4 */
  GPIO_InitStruct.Pin = GPIO_PIN_15|GPIO_PIN_14|GPIO_PIN_12|GPIO_PIN_13
                          |GPIO_PIN_11|GPIO_PIN_10|GPIO_PIN_9|GPIO_PIN_8
                          |GPIO_PIN_7|GPIO_PIN_6|GPIO_PIN_5|GPIO_PIN_2
                          |GPIO_PIN_3|GPIO_PIN_4;
  GPIO_InitStruct.Mode = GPIO_MODE_ANALOG;
  GPIO_InitStruct.Pull = GPIO_NOPULL;
  HAL_GPIO_Init(GPIOJ, &GPIO_InitStruct);

  /*Configure GPIO pins : PH15 PH14 PH13 PH1
                           PH0 PH6 */
  GPIO_InitStruct.Pin = GPIO_PIN_15|GPIO_PIN_14|GPIO_PIN_13|GPIO_PIN_1
                          |GPIO_PIN_0|GPIO_PIN_6;
  GPIO_InitStruct.Mode = GPIO_MODE_ANALOG;
  GPIO_InitStruct.Pull = GPIO_NOPULL;
  HAL_GPIO_Init(GPIOH, &GPIO_InitStruct);

  /*Configure GPIO pins : Actuator_data_dir_a2_Pin Actuator_data_dir_a1_Pin */
  GPIO_InitStruct.Pin = Actuator_data_dir_a2_Pin|Actuator_data_dir_a1_Pin;
  GPIO_InitStruct.Mode = GPIO_MODE_OUTPUT_PP;
  GPIO_InitStruct.Pull = GPIO_NOPULL;
  GPIO_InitStruct.Speed = GPIO_SPEED_FREQ_LOW;
  HAL_GPIO_Init(GPIOB, &GPIO_InitStruct);

  /*Configure GPIO pins : PA10 PA9 PA12 PA11
                           PA0 PA6 PA3 PA4 */
  GPIO_InitStruct.Pin = GPIO_PIN_10|GPIO_PIN_9|GPIO_PIN_12|GPIO_PIN_11
                          |GPIO_PIN_0|GPIO_PIN_6|GPIO_PIN_3|GPIO_PIN_4;
  GPIO_InitStruct.Mode = GPIO_MODE_ANALOG;
  GPIO_InitStruct.Pull = GPIO_NOPULL;
  HAL_GPIO_Init(GPIOA, &GPIO_InitStruct);

  /*Configure GPIO pins : PF2 PF1 PF0 PF13
                           PF14 PF12 PF15 PF11 */
  GPIO_InitStruct.Pin = GPIO_PIN_2|GPIO_PIN_1|GPIO_PIN_0|GPIO_PIN_13
                          |GPIO_PIN_14|GPIO_PIN_12|GPIO_PIN_15|GPIO_PIN_11;
  GPIO_InitStruct.Mode = GPIO_MODE_ANALOG;
  GPIO_InitStruct.Pull = GPIO_NOPULL;
  HAL_GPIO_Init(GPIOF, &GPIO_InitStruct);

  /*Configure GPIO pin : mtr_nSLEEP_Pin */
  GPIO_InitStruct.Pin = mtr_nSLEEP_Pin;
  GPIO_InitStruct.Mode = GPIO_MODE_OUTPUT_PP;
  GPIO_InitStruct.Pull = GPIO_NOPULL;
  GPIO_InitStruct.Speed = GPIO_SPEED_FREQ_LOW;
  HAL_GPIO_Init(mtr_nSLEEP_GPIO_Port, &GPIO_InitStruct);

  /*Configure GPIO pin : Eth_nRST_Pin */
  GPIO_InitStruct.Pin = Eth_nRST_Pin;
  GPIO_InitStruct.Mode = GPIO_MODE_OUTPUT_PP;
  GPIO_InitStruct.Pull = GPIO_NOPULL;
  GPIO_InitStruct.Speed = GPIO_SPEED_FREQ_LOW;
  HAL_GPIO_Init(Eth_nRST_GPIO_Port, &GPIO_InitStruct);

  /*Configure GPIO pin : Eth_LINK_ST_Pin */
  GPIO_InitStruct.Pin = Eth_LINK_ST_Pin;
  GPIO_InitStruct.Mode = GPIO_MODE_INPUT;
  GPIO_InitStruct.Pull = GPIO_NOPULL;
  HAL_GPIO_Init(Eth_LINK_ST_GPIO_Port, &GPIO_InitStruct);

  /* USER CODE BEGIN MX_GPIO_Init_2 */
  HAL_GPIO_WritePin(Eth_nRST_GPIO_Port, Eth_nRST_Pin, GPIO_PIN_SET);
  HAL_Delay(50);
  /* USER CODE END MX_GPIO_Init_2 */
}

 /* MPU Configuration */

void MPU_Config(void)
{
  MPU_Region_InitTypeDef MPU_InitStruct = {0};

  /* Disables the MPU */
  HAL_MPU_Disable();

  /** Initializes and configures the Region and the memory to be protected
  */
  MPU_InitStruct.Enable = MPU_REGION_ENABLE;
  MPU_InitStruct.Number = MPU_REGION_NUMBER0;
  MPU_InitStruct.BaseAddress = 0x0;
  MPU_InitStruct.Size = MPU_REGION_SIZE_4GB;
  MPU_InitStruct.SubRegionDisable = 0x87;
  MPU_InitStruct.TypeExtField = MPU_TEX_LEVEL0;
  MPU_InitStruct.AccessPermission = MPU_REGION_NO_ACCESS;
  MPU_InitStruct.DisableExec = MPU_INSTRUCTION_ACCESS_DISABLE;
  MPU_InitStruct.IsShareable = MPU_ACCESS_SHAREABLE;
  MPU_InitStruct.IsCacheable = MPU_ACCESS_NOT_CACHEABLE;
  MPU_InitStruct.IsBufferable = MPU_ACCESS_NOT_BUFFERABLE;

  HAL_MPU_ConfigRegion(&MPU_InitStruct);

  /** Initializes and configures the Region and the memory to be protected
  */
  MPU_InitStruct.Number = MPU_REGION_NUMBER1;
  MPU_InitStruct.BaseAddress = 0x30000000;
  MPU_InitStruct.Size = MPU_REGION_SIZE_128KB;
  MPU_InitStruct.SubRegionDisable = 0x0;
  MPU_InitStruct.TypeExtField = MPU_TEX_LEVEL1;
  MPU_InitStruct.AccessPermission = MPU_REGION_FULL_ACCESS;

  HAL_MPU_ConfigRegion(&MPU_InitStruct);
  /* Enables the MPU */
  HAL_MPU_Enable(MPU_PRIVILEGED_DEFAULT);

}

void Error_Handler(void)
{
  __disable_irq();
  while (1)
  {
  }
}
